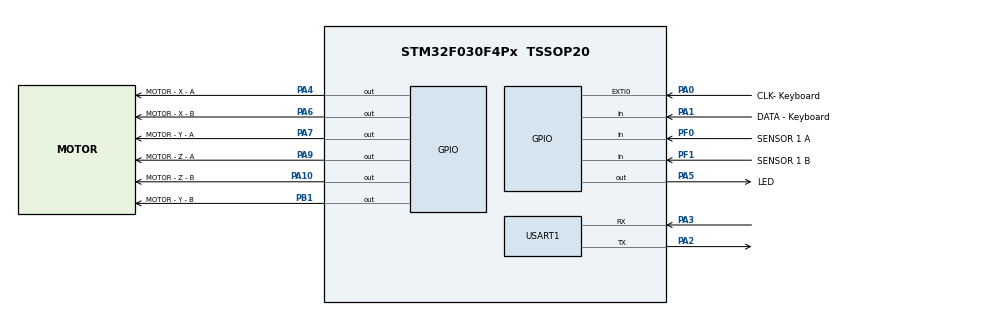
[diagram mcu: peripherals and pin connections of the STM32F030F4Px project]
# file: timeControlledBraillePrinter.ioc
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Mcu.Family=STM32F0
Mcu.Name=STM32F030F4Px
Mcu.Package=TSSOP20
NVIC.EXTI0_1_IRQn=true\:0\:0\:false\:false\:true\:true
PA0.GPIO_Label=CLK- Keyboard
PA0.GPIO_PuPd=GPIO_PULLUP
PA0.Signal=GPXTI0
PA1.GPIO_Label=DATA - Keyboard
PA1.GPIO_PuPd=GPIO_PULLUP
PA1.Signal=GPIO_Input
PA10.GPIO_Label=MOTOR - Z - B
PA10.Signal=GPIO_Output
PA13.Mode=Serial_Wire
PA13.Signal=SYS_SWDIO
PA14.Mode=Serial_Wire
PA14.Signal=SYS_SWCLK
PA2.Mode=Asynchronous
PA2.Signal=USART1_TX
PA3.Mode=Asynchronous
PA3.Signal=USART1_RX
PA4.GPIO_Label=MOTOR - X - A
PA4.Signal=GPIO_Output
PA5.GPIO_Label=LED
PA5.Signal=GPIO_Output
PA6.GPIO_Label=MOTOR - X - B
PA6.Signal=GPIO_Output
PA7.GPIO_Label=MOTOR - Y - A
PA7.Signal=GPIO_Output
PA9.GPIO_Label=MOTOR - Z - A
PA9.Signal=GPIO_Output
PB1.GPIO_Label=MOTOR - Y - B
PB1.Signal=GPIO_Output
PF0-OSC_IN.GPIO_Label=SENSOR 1 A
PF0-OSC_IN.Signal=GPIO_Input
PF1-OSC_OUT.GPIO_Label=SENSOR 1 B
PF1-OSC_OUT.Signal=GPIO_Input
ProjectManager.HeapSize=0x200
ProjectManager.StackSize=0x400
ProjectManager.TargetToolchain=TrueSTUDIO
TIM14.Period=255
TIM14.Prescaler=4
USART1.VirtualMode-Asynchronous=VM_ASYNC
VP_TIM14_VS_ClockSourceINT.Mode=Enable_Timer
board=custom

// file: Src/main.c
/**
  ******************************************************************************
  * @file           : main.c
  * @brief          : Main program body
  ******************************************************************************
  ** This notice applies to any and all portions of this file
  * that are not between comment pairs USER CODE BEGIN and
  * USER CODE END. Other portions of this file, whether
  * inserted by the user or by software development tools
  * are owned by their respective copyright owners.
  *
  * COPYRIGHT(c) 2018 STMicroelectronics
  *
  * Redistribution and use in source and binary forms, with or without modification,
  * are permitted provided that the following conditions are met:
  *   1. Redistributions of source code must retain the above copyright notice,
  *      this list of conditions and the following disclaimer.
  *   2. Redistributions in binary form must reproduce the above copyright notice,
  *      this list of conditions and the following disclaimer in the documentation
  *      and/or other materials provided with the distribution.
  *   3. Neither the name of STMicroelectronics nor the names of its contributors
  *      may be used to endorse or promote products derived from this software
  *      without specific prior written permission.
  *
  * THIS SOFTWARE IS PROVIDED BY THE COPYRIGHT HOLDERS AND CONTRIBUTORS "AS IS"
  * AND ANY EXPRESS OR IMPLIED WARRANTIES, INCLUDING, BUT NOT LIMITED TO, THE
  * IMPLIED WARRANTIES OF MERCHANTABILITY AND FITNESS FOR A PARTICULAR PURPOSE ARE
  * DISCLAIMED. IN NO EVENT SHALL THE COPYRIGHT HOLDER OR CONTRIBUTORS BE LIABLE
  * FOR ANY DIRECT, INDIRECT, INCIDENTAL, SPECIAL, EXEMPLARY, OR CONSEQUENTIAL
  * DAMAGES (INCLUDING, BUT NOT LIMITED TO, PROCUREMENT OF SUBSTITUTE GOODS OR
  * SERVICES; LOSS OF USE, DATA, OR PROFITS; OR BUSINESS INTERRUPTION) HOWEVER
  * CAUSED AND ON ANY THEORY OF LIABILITY, WHETHER IN CONTRACT, STRICT LIABILITY,
  * OR TORT (INCLUDING NEGLIGENCE OR OTHERWISE) ARISING IN ANY WAY OUT OF THE USE
  * OF THIS SOFTWARE, EVEN IF ADVISED OF THE POSSIBILITY OF SUCH DAMAGE.
  *
  ******************************************************************************
  */
#include "main.h"
#include "stm32f0xx_hal.h"
#include "tim.h"
#include "usart.h"
#include "gpio.h"

/* USER CODE BEGIN Includes */
#include "PS2Keyboard.h"
#include "brailleMatrix.h"
#include "DCMotors.h"
/* USER CODE END Includes */

/* USER CODE BEGIN PV */
/* Private variables ---------------------------------------------------------*/
#define ENCODER_1_A_PORT           GPIOF
#define ENCODER_1_A_PIN            GPIO_PIN_0

#define ENCODER_1_B_PORT           GPIOF
#define ENCODER_1_B_PIN            GPIO_PIN_1

#define ENCODER_2_A_PORT           GPIOA
#define ENCODER_2_A_PIN            GPIO_PIN_2

#define ENCODER_2_B_PORT           GPIOA
#define ENCODER_2_B_PIN            GPIO_PIN_3

#define MOTORX_A_PORT			   GPIOA
#define MOTORX_A_PIN			   GPIO_PIN_4
#define MOTORX_B_PORT			   GPIOA
#define MOTORX_B_PIN			   GPIO_PIN_6

#define MOTORY_A_PORT			   GPIOA
#define MOTORY_A_PIN			   GPIO_PIN_7
#define MOTORY_B_PORT			   GPIOB
#define MOTORY_B_PIN			   GPIO_PIN_1

#define MOTORZ_A_PORT			   GPIOA
#define MOTORZ_A_PIN			   GPIO_PIN_9
#define MOTORZ_B_PORT			   GPIOA
#define MOTORZ_B_PIN			   GPIO_PIN_10

#define MAX_CARACTERES 5
#define MAX_LINHAS 27
#define POS_INI 0
#define POS_FIM 4000

char pressedEnter = 1;
char isEnd = 0;

Keyboard_TypeDef keyboard;

MotorControl_Simple_t motorX;
MotorControl_Simple_t motorY;

MotorControl_Simple_t motorZ;
//unsigned char linhaBraille[MAX_CARACTERES] = {'A','B'};
unsigned char buffer_char[MAX_CARACTERES];
unsigned char buffer_braille[4];

/* USER CODE END PV */

void SystemClock_Config(void);

/* USER CODE BEGIN PFP */
/* Private function prototypes -----------------------------------------------*/
void interruption();

/* USER CODE END PFP */

/* USER CODE BEGIN 0 */
void interruption(){
	ps2interrupt(&keyboard);
}

/* USER CODE END 0 */

int main(void)
{

  /* MCU Configuration----------------------------------------------------------*/

  /* Reset of all peripherals, Initializes the Flash interface and the Systick. */
  HAL_Init();

  /* Configure the system clock */
  SystemClock_Config();

  /* Initialize all configured peripherals */
  MX_GPIO_Init();
  MX_TIM14_Init();
  MX_USART1_UART_Init();
  /* USER CODE BEGIN 2 */

//	motorBegin(&motorX, ENCODER_1_A_PORT, ENCODER_1_A_PIN, ENCODER_1_B_PORT, ENCODER_1_B_PIN, htim14, htim3, TIM_CHANNEL_1,  TIM_CHANNEL_1);
//	motorBegin(&motorY, ENCODER_2_A_PORT, ENCODER_2_A_PIN, ENCODER_2_B_PORT, ENCODER_2_B_PIN, htim3, htim3, TIM_CHANNEL_2,  TIM_CHANNEL_4);

  	motorSimpleBegin(&motorX, MOTORX_A_PORT, MOTORX_A_PIN, MOTORX_B_PORT, MOTORX_B_PIN);
  	motorSimpleBegin(&motorY, MOTORY_A_PORT, MOTORY_A_PIN, MOTORY_B_PORT, MOTORY_B_PIN);
	motorSimpleBegin(&motorZ, MOTORZ_A_PORT, MOTORZ_A_PIN, MOTORZ_B_PORT, MOTORZ_B_PIN);

	keyboardBegin(&keyboard, PS2_DATA_PORT, PS2_DATA_PIN, PS2_IQR_PORT, PS2_IQR_PIN);

	memset(buffer_braille, 0, sizeof(buffer_braille));

  /* USER CODE END 2 */

  /* Infinite loop */
  /* USER CODE BEGIN WHILE */
	while (1)  {
  /* USER CODE END WHILE */

  /* USER CODE BEGIN 3 */

		/* Faz a leitura do teclado e envia ao buffer_char */

		while(1){
			if(keyboardAvailable(&keyboard)){
				HAL_GPIO_WritePin(GPIOA, GPIO_PIN_5, GPIO_PIN_SET);
				HAL_Delay(50);
				HAL_GPIO_WritePin(GPIOA, GPIO_PIN_5, GPIO_PIN_RESET);
				uint8_t c = keyboardRead(&keyboard);
				HAL_UART_Transmit(&huart1, (uint8_t *)&c, 1, 1000);
				if(c == PS2_ENTER){
					pressedEnter = 1;
					HAL_GPIO_WritePin(GPIOA, GPIO_PIN_5, GPIO_PIN_SET);
				  	  	break;
					}

				feedBuffer(buffer_char, MAX_CARACTERES, c);
			}
		}
		HAL_UART_Transmit(&huart1, "\n\rEnter apertado\n\r", 19, 1000);
		/* Programa leitura do teclado */
		if(pressedEnter){
			reverse(buffer_char);
			uint16_t length = strlen((const char*)buffer_char);
			for(int j=0;j<3;j++){
				//Imprime as linhas em braille
				if(j==1){
					//Linhas das matrizes
					for(int i= length- 1; i>=0; --i){

						// Recebe os pontos da linha para o caractere atual
						fillLineWithBraille(buffer_braille, j,buffer_char[i]);

						// Percorre os 4 bits, no máximo, para cada caractere
						for(int x = 1; x >=0; --x){
							if(buffer_braille[x] == '1'){
								motorForward(&motorZ, PIERCE_TIME);
								motorBackward(&motorZ, PIERCE_TIME);
							}
							// Decrementa posição do eixo x, espaçamento entre colunas
							if(x != 0){
								updateAxis(&motorX, NEXT_DOT_LEFT);
							}
						}

						// Decrementa posição do eixo x, espaçamento entre char na horizontal
						if(i != 0){
							updateAxis(&motorX, LEFT);
						}

					}
				}else{
					int i;
					//Linhas das matrizes
					for(i=0; i<length; i++){

						//Recebe os pontos da linha para o caractere atual
						fillLineWithBraille(buffer_braille, j,buffer_char[i]);

						//Percorre os 4 bits, no máximo, para cada caractere
						for(int x = 0; x < 2; ++x){
							if(buffer_braille[x] == '1'){
								motorForward(&motorZ, PIERCE_TIME);
								motorBackward(&motorZ, PIERCE_TIME);
							}

							// Incrementa posição do eixo x, espaçamento entre colunas
							if(x != 1){
								updateAxis(&motorX, NEXT_DOT_RIGHT);
							}
						}

						// Incrementa posição do eixo x, espaçamento entre char na horizontal
						if(i != (length - 1)){
							updateAxis(&motorX, RIGHT);
						}

					}
				}
				// Decrementa posição do eixo y, espaçamento entre linhas
				updateAxis(&motorY, DOWN_NEXT_LINE);
			}

			// Incrementa posição do eixo y, espaçamento entre char na vertical
			updateAxis(&motorY, DOWN);

			// Seta posição eixo x para inicial
			updateAxis(&motorX, POS_INI);

			pressedEnter = 0;
			HAL_GPIO_WritePin(GPIOA, GPIO_PIN_5, GPIO_PIN_RESET);
		}
		clearBuffer(buffer_char);

	}
  /* USER CODE END 3 */

}

void SystemClock_Config(void)
{

  RCC_OscInitTypeDef RCC_OscInitStruct;
  RCC_ClkInitTypeDef RCC_ClkInitStruct;
  RCC_PeriphCLKInitTypeDef PeriphClkInit;

    /**Initializes the CPU, AHB and APB busses clocks
    */
  RCC_OscInitStruct.OscillatorType = RCC_OSCILLATORTYPE_HSI;
  RCC_OscInitStruct.HSIState = RCC_HSI_ON;
  RCC_OscInitStruct.HSICalibrationValue = 16;
  RCC_OscInitStruct.PLL.PLLState = RCC_PLL_NONE;
  if (HAL_RCC_OscConfig(&RCC_OscInitStruct) != HAL_OK)
  {
    _Error_Handler(__FILE__, __LINE__);
  }

    /**Initializes the CPU, AHB and APB busses clocks
    */
  RCC_ClkInitStruct.ClockType = RCC_CLOCKTYPE_HCLK|RCC_CLOCKTYPE_SYSCLK
                              |RCC_CLOCKTYPE_PCLK1;
  RCC_ClkInitStruct.SYSCLKSource = RCC_SYSCLKSOURCE_HSI;
  RCC_ClkInitStruct.AHBCLKDivider = RCC_SYSCLK_DIV1;
  RCC_ClkInitStruct.APB1CLKDivider = RCC_HCLK_DIV1;

  if (HAL_RCC_ClockConfig(&RCC_ClkInitStruct, FLASH_LATENCY_0) != HAL_OK)
  {
    _Error_Handler(__FILE__, __LINE__);
  }

  PeriphClkInit.PeriphClockSelection = RCC_PERIPHCLK_USART1;
  PeriphClkInit.Usart1ClockSelection = RCC_USART1CLKSOURCE_PCLK1;
  if (HAL_RCCEx_PeriphCLKConfig(&PeriphClkInit) != HAL_OK)
  {
    _Error_Handler(__FILE__, __LINE__);
  }

    /**Configure the Systick interrupt time
    */
  HAL_SYSTICK_Config(HAL_RCC_GetHCLKFreq()/1000);

    /**Configure the Systick
    */
  HAL_SYSTICK_CLKSourceConfig(SYSTICK_CLKSOURCE_HCLK);

  /* SysTick_IRQn interrupt configuration */
  HAL_NVIC_SetPriority(SysTick_IRQn, 0, 0);
}

void _Error_Handler(char *file, int line)
{
	while(1)
	{
	}
}

/************************ (C) COPYRIGHT STMicroelectronics *****END OF FILE****/
